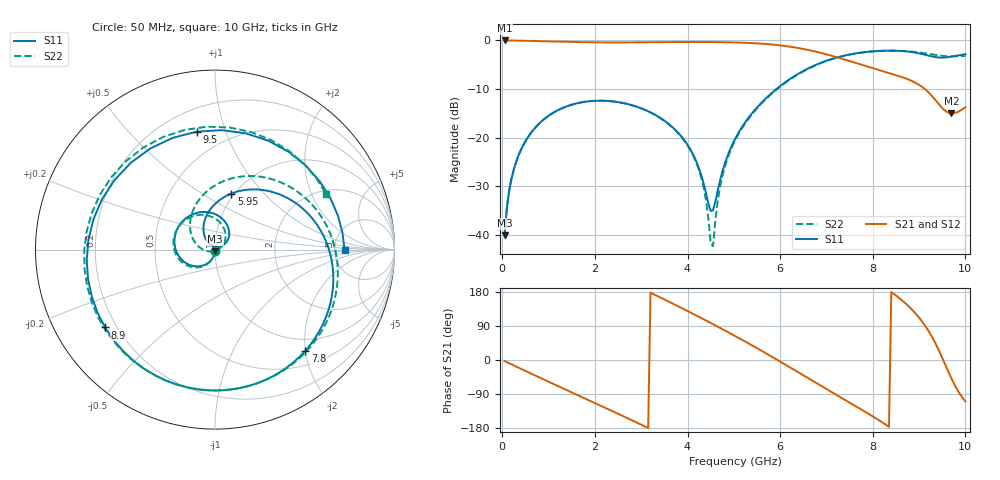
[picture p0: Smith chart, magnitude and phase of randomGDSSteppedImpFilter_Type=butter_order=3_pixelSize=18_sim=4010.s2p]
! freq	dB(S11)	phase(S11)	dB(S12)	phase(S12)
!  dB(S21)	phase(S21)	dB(S22)	phase(S22)
!S-par simulation data
#  GHz  S  DB  R 50
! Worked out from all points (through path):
!   200 points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, 50 MHz to 10 GHz, reference 50 ohm
!   highest |S21| = -0.01 dB at 50 MHz (marker M1); lowest = -15.0 dB at 9.7 GHz (marker M2)
!   lowest |S11| = -40.1 dB at 50 MHz (marker M3), VSWR 1.02, Z = 50 - j0.989 ohm
!   |S11| at or under -10 dB: start of sweep to 5.919 GHz
!   |S22| runs from -42.3 to -2.1 dB; largest |S21 - S12| = 0
!   S11 on the Smith chart (normalised r, x): 50 MHz: 1.00, -0.02; 5.95 GHz: 0.97, +0.68; 7.8 GHz: 0.76, -2.00; 8.9 GHz: 0.16, -0.31; 9.5 GHz: 0.34, +0.80; 10 GHz: 6.18, -0.01
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0.05  -40.10 -90.4  -0.01 -2.9  -0.01 -2.9  -40.09 -90.2
0.2  -28.37 -101.9  -0.03 -11.6  -0.03 -11.6  -28.37 -101.0
0.5  -20.72 -120.4  -0.08 -28.9  -0.08 -28.9  -20.72 -118.2
1.15  -14.60 -159.1  -0.23 -65.9  -0.23 -65.9  -14.60 -154.0
1.75  -12.66 165.7  -0.36 -99.6  -0.36 -99.6  -12.67 173.7
2.65  -12.95 112.8  -0.41 -150.4  -0.41 -150.4  -12.96 125.3
3.4  -15.86 68.2  -0.36 165.7  -0.36 165.7  -15.89 83.1
4.2  -25.12 29.0  -0.32 116.8  -0.32 116.8  -25.40 31.6
4.55  -34.93 93.9  -0.34 94.6  -0.34 94.6  -42.30 -100.8
4.75  -27.05 132.6  -0.36 81.6  -0.36 81.6  -27.99 -166.8
5.05  -19.84 126.2  -0.43 61.8  -0.43 61.8  -20.15 167.5
5.55  -13.27 98.7  -0.64 27.7  -0.64 27.7  -13.44 130.2
5.95  -9.76 73.7  -0.97 -0.5  -0.97 -0.5  -9.89 100.0
6.7  -5.33 24.6  -2.16 -54.9  -2.16 -54.9  -5.40 42.1
7.3  -3.32 -15.0  -3.67 -98.2  -3.67 -98.2  -3.36 -3.5
7.8  -2.44 -48.2  -5.11 -134.0  -5.11 -134.0  -2.47 -40.6
8.35  -2.10 -88.4  -6.69 -176.5  -6.69 -176.5  -2.11 -83.5
8.9  -2.49 -144.7  -8.60 126.1  -8.60 126.1  -2.36 -137.6
9.2  -3.12 166.2  -10.65 77.4  -10.65 77.4  -2.75 -179.2
9.5  -3.54 98.7  -13.90 5.8  -13.90 5.8  -3.16 125.1
9.7  -3.32 53.0  -15.01 -49.1  -15.01 -49.1  -3.28 83.2
10  -2.83 -0.0  -13.74 -109.5  -13.74 -109.5  -3.19 26.3
